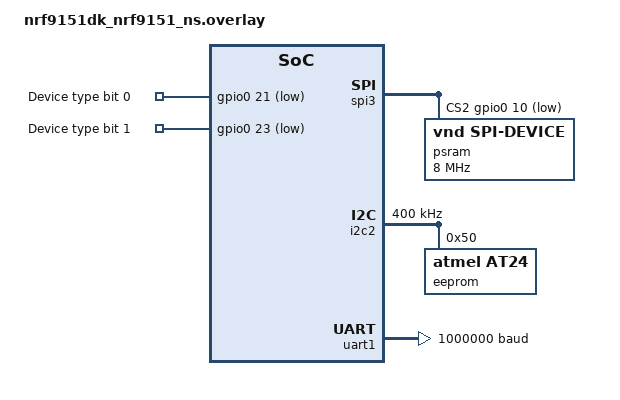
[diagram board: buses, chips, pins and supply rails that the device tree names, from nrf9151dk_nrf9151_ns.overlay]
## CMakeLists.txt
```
#
# Copyright (c) 2024 Nordic Semiconductor
#
# SPDX-License-Identifier: LicenseRef-Nordic-5-Clause
#

cmake_minimum_required(VERSION 3.20.0)

find_package(Zephyr REQUIRED HINTS $ENV{ZEPHYR_BASE})
project(hello_dect)

target_sources(app PRIVATE
  src/main.c
  src/main_sub.c
  src/radio.c
  src/queue.c
  src/product_info.c
  src/mesh.c
  src/mesh_layers/mesh_pairing.c
  src/mesh_layers/mesh_routing.c
  src/mesh_layers/mesh_session.c
  src/timeout.c
  src/tracker.c
  src/psram.c
  src/data.c
  src/config.c
  src/large_data.c
  src/spi_bus.c
  src/storage.c
  src/slm_at_uart.c
  src/slm_at_sub.c
  src/slm_at_main.c
)

# Testing utilities
target_sources(app PRIVATE src/testing/buttons.c)
target_sources(app PRIVATE src/testing/led.c)
```

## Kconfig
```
#
# Copyright (c) 2024 Nordic Semiconductor
#
# SPDX-License-Identifier: LicenseRef-Nordic-5-Clause
#

config CARRIER
	int "Carrier to use"
	default 0
	help
	   The availability of the channels and the exact regulation to use them varies in different countries.
	   See ETSI TS 103 636-2 5.4.2 for the calculation.
	   Band index 1 is set when the carrier is within the range of 525 to 551.
	   This is the only range allowed for band index 1 as other carriers will interfere with other radio devices, including LTE devices.

config NETWORK_ID
	int "Network ID"
	range 1 4294967295
	default 91

config MCS
	int "MCS"
	default 1
	help
	   The MCS impacts how much data can fit into each subslot.

config TX_POWER
	int "TX power"
	range 0 13
	default 13
	help
	   Transmission power, max 19 dBm due to hardware limitations.
	   See table 6.2.1-3 of ETSI TS 103 636-4 v1.5.1.

config TX_TRANSMISSIONS
	int "TX transmissions"
	range 0 4294967295
	default 30
	help
	   Transmissions before sample exits, use 0 to transmit forever.

config RX_PERIOD_S
	int "RX period"
	default 5
	help
	   Receive window period.
	   Time is given in seconds.

config MAIN_LOG_LEVEL
	int "Main log level"
	default 4
	help
	   Choose the log level for the main module.

config MAIN_SUB_LOG_LEVEL
	int "Main Sub log level"
	default 4
	help
	   Choose the log level for the main sub module.

config RADIO_LOG_LEVEL
	int "Radio log level"
	default 4
	help
	   Choose the log level for the radio module.

config MESH_LOG_LEVEL
	int "Mesh log level"
	default 4
	help
	   Choose the log level for the mesh module.

config MESH_PAIRING_LOG_LEVEL
	int "Mesh pairing log level"
	default 4
	help
	   Choose the log level for the mesh pairing module.

config MESH_ROUTING_LOG_LEVEL
	int "Mesh routing log level"
	default 4
	help
	   Choose the log level for the mesh routing module.

config MESH_SESSION_LOG_LEVEL
	int "Mesh session log level"
	default 4
	help
	   Choose the log level for the mesh session module.
	
config DATA_LOG_LEVEL
	int "Data log level"
	default 4
	help
	   Choose the log level for the data module.

config CONFIG_LOG_LEVEL
	int "Config log level"
	default 4
	help
	   Choose the log level for the config module.

config LARGE_DATA_LOG_LEVEL
	int "Large data log level"
	default 4
	help
	   Choose the log level for the large data module.

config PRODUCT_INFO_LOG_LEVEL
	int "Product info log level"
	default 4
	help
	   Choose the log level for the product info module.

config PSRAM_LOG_LEVEL
	int "PSRAM log level"
	default 4
	help
	   Choose the log level for the PSRAM module.

config QUEUE_LOG_LEVEL
	int "Queue log level"
	default 4
	help
	   Choose the log level for the queue module.

config STORAGE_LOG_LEVEL
	int "Storage log level"
	default 4
	help
	   Choose the log level for the storage module.

config TRACKER_LOG_LEVEL
	int "Tracker log level"
	default 4
	help
	   Choose the log level for the tracker module.

module = DECT_PHY_HELLO
module-str = DECT NR+ PHY Hello
source "$(ZEPHYR_BASE)/subsys/logging/Kconfig.template.log_config"

menu "Zephyr Kernel"
source "Kconfig.zephyr"
endmenu
```

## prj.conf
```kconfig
CONFIG_NRF_MODEM_LIB=y

CONFIG_MODEM_ANTENNA=n

CONFIG_CARRIER=525
CONFIG_TX_POWER=13
CONFIG_MCS=2

CONFIG_MAIN_LOG_LEVEL=3
CONFIG_MAIN_SUB_LOG_LEVEL=3
CONFIG_RADIO_LOG_LEVEL=3
CONFIG_MESH_LOG_LEVEL=3
CONFIG_MESH_PAIRING_LOG_LEVEL=3
CONFIG_MESH_ROUTING_LOG_LEVEL=3
CONFIG_MESH_SESSION_LOG_LEVEL=3
CONFIG_DATA_LOG_LEVEL=3
CONFIG_LARGE_DATA_LOG_LEVEL=3
CONFIG_PRODUCT_INFO_LOG_LEVEL=3
CONFIG_PSRAM_LOG_LEVEL=3
CONFIG_QUEUE_LOG_LEVEL=3
CONFIG_STORAGE_LOG_LEVEL=3
CONFIG_CONFIG_LOG_LEVEL=3
CONFIG_TRACKER_LOG_LEVEL=3

CONFIG_NRF_MODEM_LINK_BINARY_DECT_PHY=y
CONFIG_HWINFO=y
CONFIG_GPIO=y
CONFIG_I2C=y
CONFIG_EEPROM=y
CONFIG_EEPROM_AT24=y

CONFIG_ENTROPY_GENERATOR=y
CONFIG_REBOOT=y
CONFIG_SPI=y
CONFIG_CRC=y

CONFIG_LOG=y

CONFIG_MAIN_STACK_SIZE=4096

# AT command UART (UART1, re-pinned in overlay). UART0 stays on console/logs.
# Async UART + DMA is required for the h745-style SLM AT transport.
CONFIG_SERIAL=y
CONFIG_UART_ASYNC_API=y
CONFIG_RING_BUFFER=y
```

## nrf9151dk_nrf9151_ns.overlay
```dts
/*
 * Device-type selection pins (active-low, internal pull-up):
 *   P0.21  P0.23  →  type
 *     0      0       Gateway
 *     0      1       Anchor
 *     1      0       Sensor
 *     1      1       (reserved, defaults to Sensor)
 */
/ {
	chosen {
		nordic,pm-ext-flash = &gd25wb256;
		zephyr,slm-uart     = &uart1;
	};

	device_type_pins {
		compatible = "gpio-keys";
		devtype_pin0: devtype_pin0 {
			gpios = <&gpio0 21 (GPIO_ACTIVE_LOW | GPIO_PULL_UP)>;
			label = "Device type bit 0";
		};
		devtype_pin1: devtype_pin1 {
			gpios = <&gpio0 23 (GPIO_ACTIVE_LOW | GPIO_PULL_UP)>;
			label = "Device type bit 1";
		};
	};
};

/* SPI3: Add PSRAM (APS6404L) sharing the bus with GD25WB256 flash.
 * SCK=P0.13, MOSI=P0.11, MISO=P0.12 (same as flash).
 * PSRAM CS=P0.10 (added as third CS on SPI3). */
&spi3 {
	cs-gpios = <&arduino_header 16 GPIO_ACTIVE_LOW>,  /* D10 */
		   <&gpio0 20 GPIO_ACTIVE_LOW>,            /* flash CS */
		   <&gpio0 10 GPIO_ACTIVE_LOW>;            /* PSRAM CS */

	psram: aps6404l@2 {
		compatible = "vnd,spi-device";
		reg = <2>;
		spi-max-frequency = <8000000>;
		status = "okay";
	};
};

/* I2C2: P0.30 = SDA, P0.31 = SCL (pinctrl already defined in board DTS). */
&i2c2 {
	status = "okay";
	clock-frequency = <I2C_BITRATE_FAST>;

	eeprom: eeprom@50 {
		compatible = "atmel,at24";
		reg = <0x50>;
		size = <DT_SIZE_K(256)>;
		pagesize = <256>;
		address-width = <16>;
		timeout = <10>;
	};
};

/* UART1 = AT command host interface.
 * Default board pinctrl already routes UART1 to P0.29 (TX), P0.28 (RX),
 * P0.17 (CTS), P0.16 (RTS) — exposed on the Arduino-style headers.
 * UART0 stays on its board default (logs / console). */
&uart1 {
	status = "okay";
	current-speed = <1000000>;
	hw-flow-control;
};
```

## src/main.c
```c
/*
 * Copyright (c) 2024 Nordic Semiconductor ASA
 *
 * SPDX-License-Identifier: LicenseRef-Nordic-5-Clause
 */
#include <string.h>
#include <zephyr/kernel.h>
#include <zephyr/logging/log.h>
#include <nrf_modem_dect_phy.h>
#include <modem/nrf_modem_lib.h>
#include <zephyr/drivers/hwinfo.h>
#include "radio.h"
#include "product_info.h"
#include "storage.h"
#include "main_sub.h"
#include "psram.h"
#include "slm_at_main.h"
#include "config.h"
#include "data.h"
#include "large_data.h"
#include "mesh.h"
#include "tracker.h"
#include "testing/buttons.h"
#include "testing/led.h"

LOG_MODULE_REGISTER(main, CONFIG_MAIN_LOG_LEVEL);

BUILD_ASSERT(CONFIG_CARRIER, "Carrier must be configured according to local regulations");

int main(void)
{
	int err;

	LOG_INF("---****--- Dect NR+ PHY mesh started ---****---");

	err = nrf_modem_lib_init();
	if (err) {
		LOG_ERR("modem init failed, err %d", err);
		return err;
	}

	err = nrf_modem_dect_phy_event_handler_set(dect_phy_event_handler);
	if (err) {
		LOG_ERR("nrf_modem_dect_phy_event_handler_set failed, err %d", err);
		return err;
	}

	err = nrf_modem_dect_phy_init();
	if (err) {
		LOG_ERR("nrf_modem_dect_phy_init failed, err %d", err);
		return err;
	}

	k_sem_take(&operation_sem, K_FOREVER);
	if (radio_exit) {
		return -EIO;
	}

	err = nrf_modem_dect_phy_configure(&dect_phy_config_params);
	if (err) {
		LOG_ERR("nrf_modem_dect_phy_configure failed, err %d", err);
		return err;
	}

	k_sem_take(&operation_sem, K_FOREVER);
	if (radio_exit) {
		return -EIO;
	}

	err = nrf_modem_dect_phy_activate(NRF_MODEM_DECT_PHY_RADIO_MODE_LOW_LATENCY);
	if (err) {
		LOG_ERR("nrf_modem_dect_phy_activate failed, err %d", err);
		return err;
	}

	k_sem_take(&operation_sem, K_FOREVER);
	if (radio_exit) {
		return -EIO;
	}

	err = nrf_modem_dect_phy_capability_get();
	if (err) {
		LOG_ERR("nrf_modem_dect_phy_capability_get failed, err %d", err);
	}

	err = product_info_init();
	if (err) {
		LOG_ERR("product_info_init failed, err %d", err);
		return err;
	}

	err = storage_init();
	if (err) {
		LOG_ERR("storage_init failed, err %d", err);
		return err;
	}

	err = psram_init();
	if (err) {
		LOG_WRN("PSRAM init failed, err %d (tracker will not work)", err);
	}

	err = slm_at_init();
	if (err) {
		LOG_WRN("SLM AT init failed, err %d", err);
	}

	/* Testing Purpose Only*/
	buttons_init();
	led_init();

	while (1) {
		// Main Sub State Machine
		main_sub_run();
		// SLM AT Command Processor
		slm_at_run_cycle();
	}

	return 0;
}
```

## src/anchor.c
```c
/*
 * Anchor pairing and main loop for DECT NR+ mesh network.
 *
 * The anchor is a hybrid device:
 *   - Upstream: pairs with gateway/other anchors (like a sensor, 4-step)
 *   - Downstream: accepts sensor pair requests (like a gateway)
 *
 * Tracking IDs are looked up from the tracker pool — no static TID variables.
 * Partition 1 stores upstream infra devices (max 8).
 * Partition 2 stores connected sensors.
 */

#include <zephyr/kernel.h>
#include <zephyr/sys/reboot.h>
#include "main_sub.h"
#include "protocol.h"
#include "product_info.h"
#include "mesh.h"
#include "radio.h"
#include "storage.h"
#include "queue.h"
#include "tracker.h"
#include "data.h"
#include "large_data.h"
#include "config.h"
#include "log_color.h"
#include "slm_at_main.h"

LOG_MODULE_REGISTER(anchor, CONFIG_ANCHOR_LOG_LEVEL);

static int anchor_init(void)
{
	device_info_update();
	LOG_INF_BLU("%s Initialized with ID: %d SN: 0x%016llx, Hop: %d Mesh Devices: %d", device_type_str(DEVICE_TYPE), radio_get_device_id(), SERIAL_NUMBER, DEVICE_HOP_NUMBER, MESH_DEVICES_COUNT);

	tracker_init();
	data_init();
	config_init();
	large_data_init();
	
	if (infra_count > 0) {
		if (infra_count >= MAX_ANCHORS) {
			return 0;
		}
	}

	send_pair_request();
	return 0;
}

static void anchor_process_rx(const uint8_t *data, uint16_t sender_id, int16_t rssi_2)
{
	switch (data[0]) {
	case PACKET_PAIR_REQUEST:
		handle_pair_request((const pair_request_t *)data, sender_id, rssi_2);
		break;
	
	case PACKET_PAIR_RESPONSE:
		handle_pair_response((const pair_response_t *)data, sender_id, rssi_2);
		break;

	case PACKET_PAIR_CONFIRM:
		handle_pair_confirm((const pair_confirm_t *)data, sender_id, rssi_2);
		break;
	
	case PACKET_PAIR_ACK:
		handle_pair_ack((const pair_ack_t *)data, sender_id, rssi_2);
		break;

	case PACKET_JOINED_NETWORK:
		handle_joined_network((const joined_network_t *)data, sender_id, rssi_2);
		break;
	
	case PACKET_JOINED_NETWORK_ACK:
		handle_joined_network_ack((const joined_network_ack_t *)data, sender_id, rssi_2);
		break;
	
	case PACKET_PING_DEVICE:
		handle_ping_device((const ping_device_t *)data, sender_id, rssi_2);
		break;

	case PACKET_PING_ACK:
		handle_ping_ack((const ping_ack_t *)data, sender_id, rssi_2);
		break;
	
	case PACKET_DEVICE_UPDATED:
		handle_device_updated((const device_updated_t *)data, sender_id, rssi_2);
		break;

	case PACKET_DEVICE_UPDATED_ACK:
		handle_device_updated_ack((const device_updated_ack_t *)data, sender_id, rssi_2);
		break;

	case PACKET_REPAIR_REQUEST:
		handle_repair_request((const repair_request_t *)data, sender_id, rssi_2);
		break;

	case PACKET_REPAIR_RESPONSE:
		handle_repair_response((const repair_response_t *)data, sender_id, rssi_2);
		break;

	case PACKET_ROUTE_DISCOVERY:
		handle_route_discovery((const route_discovery_t *)data, sender_id, rssi_2);
		break;

	case PACKET_ROUTE_DISCOVERY_ACK:
		handle_route_discovery_ack((const route_discovery_ack_t *)data, sender_id, rssi_2);
		break;

	case PACKET_ROUTE_INFO:
		handle_route_info((const route_info_t *)data, sender_id, rssi_2);
		break;

	case PACKET_ROUTE_INFO_ACK:
		handle_route_info_ack((const route_info_ack_t *)data, sender_id, rssi_2);
		break;

	case PACKET_DATA_INIT:
		handle_data_init((const data_init_t *)data, sender_id, rssi_2);
		break;

	case PACKET_DATA_INIT_ACK:
		handle_data_init_ack((const data_init_ack_t *)data, sender_id, rssi_2);
		break;

	case PACKET_DATA_CHUNK:
		handle_data_chunk((const data_chunk_t *)data, sender_id, rssi_2);
		break;

	case PACKET_DATA_CHUNK_ACK:
		handle_data_chunk_ack((const data_chunk_ack_t *)data, sender_id, rssi_2);
		break;

	case PACKET_DATA_RECEIVED:
		handle_data_received((const data_receive_t *)data, sender_id, rssi_2);
		break;
		
	case PACKET_CONFIG:
		handle_config((const config_t *)data, sender_id, rssi_2);
		break;

	case PACKET_CONFIG_ACK:
		handle_config_ack((const config_ack_t *)data, sender_id, rssi_2);
		break;

	case PACKET_CONFIG_RECEIVED:
		handle_config_received((const config_received_t *)data, sender_id, rssi_2);
		break;

	case PACKET_LARGE_DATA_INIT:
		handle_large_data_init((const large_data_init_t *)data, sender_id, rssi_2);
		break;

	case PACKET_LARGE_DATA_INIT_ACK:
		handle_large_data_init_ack((const large_data_init_ack_t *)data, sender_id, rssi_2);
		break;

	case PACKET_LARGE_DATA_CHUNK:
		handle_large_data_chunk((const large_data_chunk_t *)data, sender_id, rssi_2);
		break;

	case PACKET_LARGE_DATA_CHUNK_ACK:
		handle_large_data_chunk_ack((const large_data_chunk_ack_t *)data, sender_id, rssi_2);
		break;

	case PACKET_LARGE_DATA_RECEIVED:
		handle_large_data_received((const large_data_receive_t *)data, sender_id, rssi_2);
		break;

	default:
		break;
	}

	return;
}

void anchor_main(void)
{
	int err;
	main_sub_state_t main_sub_state = MAIN_SUB_INIT;
	bool initialized = false;
	LOG_INF("state: %d", main_sub_state);

	static main_sub_state_t main_sub_state_debug = MAIN_SUB_INIT;

	while (1) {

		if (main_sub_state_debug != main_sub_state) {
			main_sub_state_debug = main_sub_state;
			LOG_DBG("Main sub state: %d", main_sub_state);
		}

		switch (main_sub_state) {
			case MAIN_SUB_INIT:
			{
				if (SERIAL_NUMBER == 0xFFFFFFFFFFFFFFFF || SERIAL_NUMBER == 0) {
					// LOG_WRN("Serial Number not set, waiting");
					main_sub_state = MAIN_SUB_SLM_AT;
					break;
				}
				err = anchor_init();
				if (err) {
					LOG_ERR("Anchor init failed, err %d", err);
					main_sub_state = MAIN_SUB_ERROR;
					break;
				}
				initialized = true;
				main_sub_state = MAIN_SUB_RX_WINDOW;
			}
			break;

			case MAIN_SUB_RX_WINDOW:
			{
				err = receive(1, 25);
				if (err) {
					LOG_ERR("Reception failed, err %d", err);
					main_sub_state = MAIN_SUB_ERROR;
					break;
				}
				k_sem_take(&operation_sem, K_FOREVER);
				main_sub_state = MAIN_SUB_RX_PROCESS;
			}
			break;

			case MAIN_SUB_RX_PROCESS:
			{
				struct rx_data_item rx_item;
				int rx_count = 0;

				while (rx_count < MAX_QUEUE_PROCESS_PER_CYCLE &&
					rx_queue_get(&rx_item, K_NO_WAIT) == 0) {
					anchor_process_rx(rx_item.data, rx_item.sender_id, rx_item.rssi_2);
					rx_count++;
				}
				main_sub_state = MAIN_SUB_TX_PROCESS;
			}
			break;

			case MAIN_SUB_TX_PROCESS:
			{
				struct tx_data_item tx_large_item;
				int tx_count = 0;

				while (tx_count < MAX_QUEUE_PROCESS_PER_CYCLE &&
					tx_queue_get(&tx_large_item, K_NO_WAIT) == 0) {
					err = transmit(0, tx_large_item.data, tx_large_item.data_len, 0);
					if (err) {
						LOG_ERR("TX failed, err %d", err);
						main_sub_state = MAIN_SUB_ERROR;
						break;
					}
					k_sem_take(&operation_sem, K_FOREVER);
					tx_count++;
				}
				main_sub_state = MAIN_SUB_SLM_AT;
			}
			break;

			case MAIN_SUB_SLM_AT:
			{
				slm_at_run_cycle();
				if ((SERIAL_NUMBER == 0xFFFFFFFFFFFFFFFF || SERIAL_NUMBER == 0) && !initialized) {
					SERIAL_NUMBER = ((uint64_t)radio_get_device_id() << 40) | 0x00DEADBEEFULL;
					main_sub_state = MAIN_SUB_INIT;
					break;
				}
				main_sub_state = MAIN_SUB_TRACKER;
			}
			break;

			case MAIN_SUB_TRACKER:
			{
				mesh_tick();
				tracker_tick(tracker_default_expired_cb);
				main_sub_state = MAIN_SUB_CONFIG;
			}
			break;

			case MAIN_SUB_CONFIG:
			{
				config_tick();
				main_sub_state = MAIN_SUB_REPORT;
			}
			break;

			case MAIN_SUB_REPORT:
			{
				data_tick();
				main_sub_state = MAIN_SUB_LARGE_DATA;
			}
			break;

			case MAIN_SUB_LARGE_DATA:
			{
				large_data_tick();
				main_sub_state = MAIN_SUB_OTA;
			}
			break;

			case MAIN_SUB_OTA:
			{
				// Implement later
				main_sub_state = MAIN_SUB_PING_DEVICES;
			}
			break;

			case MAIN_SUB_PING_DEVICES:
			{
				main_sub_state = MAIN_SUB_RX_WINDOW;
			}
			break;

			case MAIN_SUB_ERROR:
			{
				LOG_ERR("Anchor in error state, waiting 10s before retry");
				k_msleep(10000);
				main_sub_state = MAIN_SUB_INIT;
			}
			break;

			default:
			{
				LOG_ERR("Anchor in unknown state %d", main_sub_state);
				// Reset the device to recover from unknown state
				sys_reboot(SYS_REBOOT_COLD);
			}
			break;
		}
	}
}
```

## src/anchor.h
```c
#ifndef ANCHOR_H
#define ANCHOR_H

#include <stdint.h>
#include <stdbool.h>
#include "product_info.h"

/* Initialize anchor module. Checks EEPROM for existing pairing. */
int anchor_init(void);

/* Process a received packet. */
void anchor_process_rx(const uint8_t *data, uint16_t sender_id, int16_t rssi_2);

/* Anchor main loop (runs forever). */
void anchor_main(void);

#endif /* ANCHOR_H */
```

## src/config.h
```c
#ifndef CONFIG_H
#define CONFIG_H

#include <stdint.h>
#include <stddef.h>
#include <stdbool.h>
#include "protocol.h"
#include "psram.h"
#include "timeout.h"
#include "slm_at_main.h"

#define CONFIG_SLOT_COUNT			MAX_DEVICES
#define CONFIG_PSRAM_SIZE			(CONFIG_SLOT_COUNT * MAX_CONFIG_SIZE)
#define PROCESS_CONFIG_SLOTS		8 // Max number of config slots to process per tick to avoid long blocking in main loop
#define GATEWAY_CONFIG_TIMEOUT_MS	(2 * 60 * 1000) // 2 minutes timeout for gateway
#define SENSOR_CONFIG_TIMEOUT_MS	(30 * 1000) // 30 seconds timeout for sensor
#define SENSOR_CONFIG_MAX_RETRIES	3 // Max retries for sensor to apply config

struct config_slot {
	bool active;
	bool is_sent;
	bool is_applied;
	bool is_transfered;
	uint16_t dst_device_id;
	uint8_t dst_device_type;
	uint16_t config_id;
	uint8_t config_len;
	uint32_t config_crc32;
	struct nbtimeout timeout;
};

extern struct config_slot config_slot[CONFIG_SLOT_COUNT];

/* Initialize the config module. Must be called after psram_init(). */
int config_init(void);

/* Call from main loop to expire stale slots. */
void config_tick(void);

/* Validate an AT config command and its payload. */
int validate_at_config(const slm_at_structure_t *config, const uint8_t *data);

/* AT command handlers */
void cmd_config(const char *args);
void cmd_config_ack(const char *args);

/* Release a config slot by its ID. */
int config_slot_release_by_id(uint16_t config_id, uint8_t status);

/* TX helpers */
int send_config(config_t *pkt, uint16_t dst_id, uint8_t dst_type, uint8_t priority);
int send_config_ack(config_ack_t *pkt, uint16_t dst_id, uint8_t dst_type, uint8_t priority, uint8_t tracking_id);
int send_config_received(config_received_t *pkt, uint16_t dst_id, uint8_t dst_type);
int send_config_received_ack(config_received_ack_t *pkt, uint16_t dst_id, uint8_t dst_type, uint8_t priority, uint8_t tracking_id);

/* RX handlers — wire into each device's RX dispatch switch. */
void handle_config(const config_t *pkt, uint16_t dst_id, int16_t rssi_2);
void handle_config_ack(const config_ack_t *pkt, uint16_t dst_id, int16_t rssi_2);
void handle_config_received(const config_received_t *pkt, uint16_t dst_id, int16_t rssi_2);
void handle_config_received_ack(const config_received_ack_t *pkt, uint16_t dst_id, int16_t rssi_2);

#endif /* CONFIG_H */
```

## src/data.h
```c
#ifndef DATA_H
#define DATA_H

#include <stdint.h>
#include <stddef.h>
#include <stdbool.h>
#include "protocol.h"
#include "psram.h"
#include "timeout.h"
#include "slm_at_main.h"

#define DATA_PSRAM_BASE			PSRAM_DATA_BASE
#define DATA_SLOT_COUNT			512
#define MAX_REPORT_SIZE			256
#define DATA_PSRAM_SIZE			(DATA_SLOT_COUNT * MAX_REPORT_SIZE)
#define DATA_SLOT_TIMEOUT_MS	(30 * 1000)  /* 30 seconds idle timeout for report slots */
#define PROCESS_REPORT_SLOTS	8  /* limit how many report slots we process per tick to avoid long blocking */
#define DATA_DUP_TIMEOUT_MS		(30 * 1000) /* 30 seconds timeout for duplicate report detection */
#define SENDER_TIMEOUT_MS		(30 * 1000) /* 30 seconds timeout for sender to wait for Completion */

#define DATA_MAX_CHUNKS        	((MAX_REPORT_SIZE + SEND_DATA_MAX - 1) / SEND_DATA_MAX)
#define CRC_VERIFY_STAGE_SIZE 	256

struct report_sender {
	bool     active;
	uint16_t dst_id;
	uint16_t gen_device_id;  /* original origin — preserved across hops */
	uint8_t   data_id;       /* ID of the data being sent (for the sender's reference, e.g. to match with ACKs) */
	uint8_t  priority;
	uint16_t total_size;
	uint8_t  chunk_count;
	uint8_t  last_chunk_size;
	uint8_t  next_chunk;
	uint32_t crc32;
	struct nbtimeout timeout;
};

struct report_slot {
	bool     active;
	bool	 upstream_ready;
	bool     is_sent;
	bool	 is_transfered;
	uint16_t gen_device_id;
	uint8_t data_id;
	uint8_t  priority;
	uint64_t report_time_ms;
	uint16_t total_size;
	uint8_t  chunk_count;
	uint8_t  last_chunk_size;
	uint32_t crc32;
	bool     received[DATA_MAX_CHUNKS];
	uint8_t  received_count;
	struct nbtimeout idle_timeout;
};

extern struct report_sender report_sender[MAX_ANCHORS];
extern struct report_slot report_slot[DATA_SLOT_COUNT];

/* Initialize the report module. Must be called after psram_init(). */
int report_init(void);

/* Call from main loop to expire stale slots. */
void report_tick(void);

/* Validate an AT report before processing. */
int validate_at_report(const slm_at_structure_t *report, uint8_t priority, const uint8_t *data);

/* AT command handlers */
void cmd_report(const char *args);
void cmd_report_ack(const char *args);

/* Release a report slot by its ID. */
int report_slot_release_by_id(uint16_t device_id, uint16_t report_id, bool is_success);

/* TX helpers */
int send_report_init(report_init_t *pkt, uint16_t dst_id, uint8_t dst_type, uint8_t priority);
int send_report_init_ack(report_init_ack_t *pkt, uint16_t dst_id, uint8_t dst_type, uint8_t priority, uint8_t tracking_id);
int send_report_chunk(report_chunk_t *pkt, uint16_t dst_id, uint8_t dst_type, uint8_t priority, uint8_t sender_idx);
int send_report_chunk_ack(report_chunk_ack_t *pkt, uint16_t dst_id, uint8_t dst_type, uint8_t priority, uint8_t tracking_id);
int send_report_received(report_received_t *pkt, uint16_t dst_id, uint8_t dst_type);
int send_report_received_ack(report_received_ack_t *pkt, uint16_t dst_id, uint8_t dst_type, uint8_t priority, uint8_t tracking_id);

/* RX handlers — wire into each device's RX dispatch switch. */
void handle_report_init(const report_init_t *pkt, uint16_t dst_id, int16_t rssi_2);
void handle_report_init_ack(const report_init_ack_t *pkt, uint16_t dst_id, int16_t rssi_2);
void handle_report_chunk(const report_chunk_t *pkt, uint16_t dst_id, int16_t rssi_2);
void handle_report_chunk_ack(const report_chunk_ack_t *pkt, uint16_t dst_id, int16_t rssi_2);
void handle_report_received(const report_received_t *pkt, uint16_t dst_id, int16_t rssi_2);
void handle_report_received_ack(const report_received_ack_t *pkt, uint16_t dst_id, int16_t rssi_2);

#endif /* DATA_H */
```

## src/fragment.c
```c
/*
 * Fragmentation and reassembly for DECT NR+ mesh network.
 *
 * TX: splits large data into fragments, each queued with a 3-byte header.
 * RX: collects fragments by frag_id + sender_id, returns complete data.
 */

#include <string.h>
#include <zephyr/kernel.h>
#include <zephyr/logging/log.h>
#include "fragment.h"
#include "queue.h"

LOG_MODULE_REGISTER(fragment, CONFIG_FRAGMENT_LOG_LEVEL);

static uint8_t next_frag_id;
static struct frag_reassembly reassembly[FRAG_REASSEMBLY_SLOTS];

void fragment_init(void)
{
	next_frag_id = 0;

	for (int i = 0; i < FRAG_REASSEMBLY_SLOTS; i++) {
		reassembly[i].active = false;
	}
}

uint8_t fragment_next_id(void)
{
	return next_frag_id++;
}

int fragment_send(const void *data, size_t data_len, uint8_t subslots)
{
	if (subslots == 0 || subslots > FRAG_MAX_SUBSLOTS) {
		subslots = FRAG_DEFAULT_SUBSLOTS;
	}

	size_t max_payload = (subslots * FRAG_BYTES_PER_SUBSLOT) - FRAG_HEADER_SIZE;
	uint8_t frag_total = (data_len + max_payload - 1) / max_payload;

	if (frag_total == 0) {
		frag_total = 1;
	}

	if (frag_total > 255) {
		LOG_ERR("Data too large to fragment (%d bytes, max %d)",
			data_len, max_payload * 255);
		return -ENOMEM;
	}

	uint8_t frag_id = fragment_next_id();
	const uint8_t *src = (const uint8_t *)data;
	size_t remaining = data_len;

	LOG_DBG("Fragmenting %d bytes into %d fragments (id: %d, payload: %d)",
		data_len, frag_total, frag_id, max_payload);

	for (uint8_t i = 0; i < frag_total; i++) {
		size_t chunk = (remaining > max_payload) ? max_payload : remaining;
		uint8_t buf[FRAG_HEADER_SIZE + max_payload];

		/* Prepend fragment header. */
		buf[0] = frag_id;
		buf[1] = i;
		buf[2] = frag_total;
		memcpy(&buf[FRAG_HEADER_SIZE], src, chunk);

		int err = tx_large_queue_put(buf, FRAG_HEADER_SIZE + chunk, QUEUE_PRIO_LOW);

		if (err) {
			LOG_ERR("Failed to queue fragment %d/%d", i + 1, frag_total);
			return err;
		}

		src += chunk;
		remaining -= chunk;
	}

	return 0;
}

const uint8_t *fragment_receive(const uint8_t *data, size_t data_len,
				uint16_t sender_id, size_t *out_len)
{
	if (data_len < FRAG_HEADER_SIZE) {
		return NULL;
	}

	const struct frag_header *hdr = (const struct frag_header *)data;
	const uint8_t *payload = data + FRAG_HEADER_SIZE;
	size_t payload_len = data_len - FRAG_HEADER_SIZE;

	/* Single fragment — no reassembly needed. */
	if (hdr->frag_total == 1) {
		*out_len = payload_len;
		return payload;
	}

	if (hdr->frag_index >= hdr->frag_total) {
		LOG_WRN("Invalid fragment index %d/%d", hdr->frag_index, hdr->frag_total);
		return NULL;
	}

	/* Find existing reassembly slot. */
	struct frag_reassembly *slot = NULL;

	for (int i = 0; i < FRAG_REASSEMBLY_SLOTS; i++) {
		if (reassembly[i].active &&
		    reassembly[i].frag_id == hdr->frag_id &&
		    reassembly[i].sender_id == sender_id) {
			slot = &reassembly[i];
			break;
		}
	}

	/* Allocate new slot if not found. */
	if (!slot) {
		for (int i = 0; i < FRAG_REASSEMBLY_SLOTS; i++) {
			if (!reassembly[i].active) {
				slot = &reassembly[i];
				slot->active = true;
				slot->frag_id = hdr->frag_id;
				slot->sender_id = sender_id;
				slot->frag_total = hdr->frag_total;
				slot->received_mask = 0;
				slot->total_len = 0;
				break;
			}
		}
	}

	if (!slot) {
		LOG_WRN("No reassembly slots available");
		return NULL;
	}

	/* Calculate max payload per fragment from total. */
	size_t max_payload = (FRAG_DEFAULT_SUBSLOTS * FRAG_BYTES_PER_SUBSLOT) - FRAG_HEADER_SIZE;

	/* Store fragment at correct offset. */
	size_t offset = hdr->frag_index * max_payload;

	if (offset + payload_len > sizeof(slot->buf)) {
		LOG_WRN("Fragment would overflow reassembly buffer");
		slot->active = false;
		return NULL;
	}

	memcpy(&slot->buf[offset], payload, payload_len);
	slot->received_mask |= (1 << hdr->frag_index);

	/* Track total length (last fragment determines actual total). */
	if (offset + payload_len > slot->total_len) {
		slot->total_len = offset + payload_len;
	}

	LOG_DBG("Fragment %d/%d (id:%d) from %d, mask: 0x%02x",
		hdr->frag_index + 1, hdr->frag_total, hdr->frag_id,
		sender_id, slot->received_mask);

	/* Check if all fragments received. */
	uint8_t expected_mask = (1 << hdr->frag_total) - 1;

	if (slot->received_mask == expected_mask) {
		*out_len = slot->total_len;
		slot->active = false;
		return slot->buf;
	}

	return NULL;
}
```

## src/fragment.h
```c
#ifndef FRAGMENT_H
#define FRAGMENT_H

#include <stdint.h>
#include <stddef.h>

/*
 * Fragmentation header (3 bytes, prepended to each fragment payload):
 *   [0] frag_id    — unique ID for this transfer
 *   [1] frag_index — fragment number (0-based)
 *   [2] frag_total — total number of fragments
 *
 * Max payload per fragment = subslot capacity - 3 bytes header
 */

#define FRAG_HEADER_SIZE     3
#define FRAG_MAX_SUBSLOTS    15
#define FRAG_DEFAULT_SUBSLOTS 15

/*
 * Max payload bytes per subslot count at MCS 2 (QPSK 3/4).
 * Approximate: ~14 bytes per subslot.
 */
#define FRAG_BYTES_PER_SUBSLOT 14

/* Max payload per fragment (excluding frag header). */
#define FRAG_MAX_PAYLOAD  ((FRAG_DEFAULT_SUBSLOTS * FRAG_BYTES_PER_SUBSLOT) - FRAG_HEADER_SIZE)

/* Fragment header. */
struct frag_header {
	uint8_t frag_id;
	uint8_t frag_index;
	uint8_t frag_total;
} __attribute__((packed));

/* Reassembly buffer for incoming fragments. */
struct frag_reassembly {
	uint8_t  frag_id;
	uint16_t sender_id;
	uint8_t  frag_total;
	uint8_t  received_mask;  /* bitmask of received fragments (up to 8) */
	uint16_t total_len;
	uint8_t  buf[4096];      /* reassembly buffer */
	bool     active;
};

#define FRAG_REASSEMBLY_SLOTS 4

/* Initialize fragment module. */
void fragment_init(void);

/* Fragment and queue a large buffer for TX.
 * Returns 0 on success, negative on error. */
int fragment_send(const void *data, size_t data_len, uint8_t subslots);

/* Process a received fragment. Returns pointer to complete reassembled
 * data and sets *out_len, or NULL if still incomplete. */
const uint8_t *fragment_receive(const uint8_t *data, size_t data_len,
				uint16_t sender_id, size_t *out_len);

/* Get next fragment ID (auto-incrementing). */
uint8_t fragment_next_id(void);

#endif /* FRAGMENT_H */
```

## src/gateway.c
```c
/*
 * Gateway main loop and pairing handler for DECT NR+ mesh network.
 *
 * Handles the gateway/anchor side of the 4-step pairing:
 *   Sensor → Gateway:  PAIR_REQUEST   → handle_pair_request() sends PAIR_RESPONSE
 *   Sensor → Gateway:  PAIR_CONFIRM   → gateway sends PAIR_ACK, stores sensor
 */

#include <zephyr/kernel.h>
#include <zephyr/sys/reboot.h>
#include "main_sub.h"
#include "protocol.h"
#include "product_info.h"
#include "mesh.h"
#include "radio.h"
#include "storage.h"
#include "queue.h"
#include "tracker.h"
#include "data.h"
#include "large_data.h"
#include "config.h"
#include "log_color.h"
#include "slm_at_main.h"

LOG_MODULE_REGISTER(gateway, CONFIG_GATEWAY_LOG_LEVEL);

/* Broadcast SYNC_TIME every N tracker ticks (~once every 10s at the current cadence). */
#define SYNC_TIME_BROADCAST_PERIOD_TICKS 200

static int gateway_init(void)
{
	device_info_update();
	LOG_INF_BLU("%s Initialized with ID: %d SN: 0x%016llx, Hop: %d Mesh Devices: %d", device_type_str(DEVICE_TYPE), radio_get_device_id(), SERIAL_NUMBER, DEVICE_HOP_NUMBER, MESH_DEVICES_COUNT);

	tracker_init();
	mesh_time_init();
	data_init();
	config_init();
	large_data_init();

	if (storage_mesh_count() > 0) {
		LOG_INF("------------DEVICES IN MESH STORAGE------------");

		for (int i = 0; i < storage_mesh_count(); i++) {
			mesh_entry_t entry;
			int err = storage_mesh_get(i, &entry);
			if (err) {
				LOG_ERR("Failed to read mesh entry %d, err %d", i, err);
				continue;
			}
			if (entry.device_type == DEVICE_TYPE_SENSOR) {
				LOG_INF("%d: %s ID:%d SN:%lld V:%d CID:%d", i,
					device_type_str(entry.device_type), entry.device_id, entry.serial_num, entry.version,
					entry.connected_device_id);
			} else {
				LOG_INF("%d: %s ID:%d SN:%lld V:%d hop:%d SEN_CNT:%d", i,
					device_type_str(entry.device_type), entry.device_id, entry.serial_num, entry.version,
					entry.hop_num, entry.sensor_count);
			}
		}
	}

	ping_known_devices(0, STATUS_SUCCESS);

	return 0;
}

static void gateway_process_rx(const uint8_t *data, uint16_t sender_id, int16_t rssi_2)
{
	switch (data[0]) {
		case PACKET_PAIR_REQUEST:
			handle_pair_request((const pair_request_t *)data, sender_id, rssi_2);
			break;

		case PACKET_PAIR_RESPONSE:
			handle_pair_response((const pair_response_t *)data, sender_id, rssi_2);
			break;

		case PACKET_PAIR_CONFIRM:
			handle_pair_confirm((const pair_confirm_t *)data, sender_id, rssi_2);
			break;

		case PACKET_PAIR_ACK:
			handle_pair_ack((const pair_ack_t *)data, sender_id, rssi_2);
			break;

		case PACKET_JOINED_NETWORK:
			handle_joined_network((const joined_network_t *)data, sender_id, rssi_2);
			break;

		case PACKET_JOINED_NETWORK_ACK:
			handle_joined_network_ack((const joined_network_ack_t *)data, sender_id, rssi_2);
			break;

		case PACKET_PING_DEVICE:
			handle_ping_device((const ping_device_t *)data, sender_id, rssi_2);
			break;

		case PACKET_PING_ACK:
			handle_ping_ack((const ping_ack_t *)data, sender_id, rssi_2);
			break;

		case PACKET_DEVICE_UPDATED:
			handle_device_updated((const device_updated_t *)data, sender_id, rssi_2);
			break;

		case PACKET_DEVICE_UPDATED_ACK:
			handle_device_updated_ack((const device_updated_ack_t *)data, sender_id, rssi_2);
			break;

		case PACKET_REPAIR_REQUEST:
			handle_repair_request((const repair_request_t *)data, sender_id, rssi_2);
			break;

		case PACKET_REPAIR_RESPONSE:
			handle_repair_response((const repair_response_t *)data, sender_id, rssi_2);
			break;

		case PACKET_ROUTE_DISCOVERY:
			handle_route_discovery((const route_discovery_t *)data, sender_id, rssi_2);
			break;

		case PACKET_ROUTE_DISCOVERY_ACK:
			handle_route_discovery_ack((const route_discovery_ack_t *)data, sender_id, rssi_2);
			break;

		case PACKET_ROUTE_INFO:
			handle_route_info((const route_info_t *)data, sender_id, rssi_2);
			break;

		case PACKET_ROUTE_INFO_ACK:
			handle_route_info_ack((const route_info_ack_t *)data, sender_id, rssi_2);
			break;

		case PACKET_DATA_INIT:
			handle_data_init((const data_init_t *)data, sender_id, rssi_2);
			break;

		case PACKET_DATA_INIT_ACK:
			handle_data_init_ack((const data_init_ack_t *)data, sender_id, rssi_2);
			break;

		case PACKET_DATA_CHUNK:
			handle_data_chunk((const data_chunk_t *)data, sender_id, rssi_2);
			break;

		case PACKET_DATA_CHUNK_ACK:
			handle_data_chunk_ack((const data_chunk_ack_t *)data, sender_id, rssi_2);
			break;

		case PACKET_DATA_RECEIVED:
			handle_data_received((const data_receive_t *)data, sender_id, rssi_2);
			break;
		
		case PACKET_CONFIG:
			handle_config((const config_t *)data, sender_id, rssi_2);
			break;

		case PACKET_CONFIG_ACK:
			handle_config_ack((const config_ack_t *)data, sender_id, rssi_2);
			break;

		case PACKET_CONFIG_RECEIVED:
			handle_config_received((const config_received_t *)data, sender_id, rssi_2);
			break;

		case PACKET_LARGE_DATA_INIT:
			handle_large_data_init((const large_data_init_t *)data, sender_id, rssi_2);
			break;

		case PACKET_LARGE_DATA_INIT_ACK:
			handle_large_data_init_ack((const large_data_init_ack_t *)data, sender_id, rssi_2);
			break;

		case PACKET_LARGE_DATA_CHUNK:
			handle_large_data_chunk((const large_data_chunk_t *)data, sender_id, rssi_2);
			break;

		case PACKET_LARGE_DATA_CHUNK_ACK:
			handle_large_data_chunk_ack((const large_data_chunk_ack_t *)data, sender_id, rssi_2);
			break;

		case PACKET_LARGE_DATA_RECEIVED:
			handle_large_data_received((const large_data_receive_t *)data, sender_id, rssi_2);
			break;

		default:
			break;
	}
}

void gateway_main(void)
{
	int err;
	main_sub_state_t main_sub_state = MAIN_SUB_INIT;
	bool initialized = false;

	static main_sub_state_t main_sub_state_debug = MAIN_SUB_INIT;

	while (1) {

		if (main_sub_state_debug != main_sub_state) {
			main_sub_state_debug = main_sub_state;
			LOG_DBG("Main sub state: %d", main_sub_state);
		}
		
		switch (main_sub_state) {
			case MAIN_SUB_INIT:
			{
				if (SERIAL_NUMBER == 0xFFFFFFFFFFFFFFFF || SERIAL_NUMBER == 0) {
					// LOG_WRN("Serial Number not set, waiting");
					main_sub_state = MAIN_SUB_SLM_AT;
					break;
				}
				err = gateway_init();
				if (err) {
					LOG_ERR("Gateway init failed, err %d", err);
					main_sub_state = MAIN_SUB_ERROR;
					break;
				}
				initialized = true;
				main_sub_state = MAIN_SUB_RX_WINDOW;
			}
			break;

			case MAIN_SUB_RX_WINDOW:
			{
				err = receive(1, 25);
				if (err) {
					LOG_ERR("Reception failed, err %d", err);
					main_sub_state = MAIN_SUB_ERROR;
					break;
				}
				k_sem_take(&operation_sem, K_FOREVER);
				main_sub_state = MAIN_SUB_RX_PROCESS;
			}
			break;

			case MAIN_SUB_RX_PROCESS:
			{
				struct rx_data_item rx_item;
				int rx_count = 0;

				while (rx_count < MAX_QUEUE_PROCESS_PER_CYCLE &&
					rx_queue_get(&rx_item, K_NO_WAIT) == 0) {
					gateway_process_rx(rx_item.data, rx_item.sender_id, rx_item.rssi_2);
					rx_count++;
				}
				main_sub_state = MAIN_SUB_TX_PROCESS;
			}
			break;

			case MAIN_SUB_TX_PROCESS:
			{
				struct tx_data_item tx_item;
				int tx_count = 0;

				while (tx_count < MAX_QUEUE_PROCESS_PER_CYCLE &&
					tx_queue_get(&tx_item, K_NO_WAIT) == 0) {
					err = transmit(0, tx_item.data, tx_item.data_len, 0);
					if (err) {
						LOG_ERR("TX failed, err %d", err);
						main_sub_state = MAIN_SUB_ERROR;
						break;
					}
					k_sem_take(&operation_sem, K_FOREVER);
					tx_count++;
				}
				main_sub_state = MAIN_SUB_SLM_AT;
			}
			break;

			case MAIN_SUB_SLM_AT:
			{
				slm_at_run_cycle();
				if ((SERIAL_NUMBER == 0xFFFFFFFFFFFFFFFF || SERIAL_NUMBER == 0) && !initialized) {
					SERIAL_NUMBER = ((uint64_t)radio_get_device_id() << 40) | 0x00DEADBEEFULL;
					main_sub_state = MAIN_SUB_INIT;
					break;
				}
				main_sub_state = MAIN_SUB_TRACKER;
			}
			break;
			
			case MAIN_SUB_TRACKER:
			{
				tracker_tick(tracker_default_expired_cb);
				main_sub_state = MAIN_SUB_CONFIG;
			}
			break;

			case MAIN_SUB_CONFIG:
			{
				config_tick();
				main_sub_state = MAIN_SUB_REPORT;
			}
			break;

			case MAIN_SUB_REPORT:
			{
				data_tick();
				main_sub_state = MAIN_SUB_LARGE_DATA;
			}
			break;

			case MAIN_SUB_LARGE_DATA:
			{
				large_data_tick();
				main_sub_state = MAIN_SUB_OTA;
			}
			break;

			case MAIN_SUB_OTA:
			{
				// Implement later
				main_sub_state = MAIN_SUB_PING_DEVICES;
			}
			break;

			case MAIN_SUB_PING_DEVICES:
			{
				known_devices_tick();
				main_sub_state = MAIN_SUB_RX_WINDOW;
			}
			break;

			case MAIN_SUB_ERROR:
			{
				LOG_ERR("Gateway in error state, waiting 10s before retry");
				k_msleep(10000);
				main_sub_state = MAIN_SUB_INIT;
			}
			break;

			default:
			{
				LOG_ERR("Gateway in unknown state %d", main_sub_state);
				// Reset the device to recover from unknown state
				sys_reboot(SYS_REBOOT_COLD);
			}
			break;
		}
	}
}
```

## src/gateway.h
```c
#ifndef GATEWAY_H
#define GATEWAY_H

#include <stdint.h>

/* Initialize gateway module. */
int gateway_init(void);

/* Process a received packet (called from gateway main loop). */
void gateway_process_rx(const uint8_t *data, uint16_t sender_id, int16_t rssi_2);

/* Gateway main loop (RX → process → TX, runs forever). */
void gateway_main(void);

#endif /* GATEWAY_H */
```

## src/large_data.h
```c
#ifndef LARGE_DATA_H
#define LARGE_DATA_H

#include <stdint.h>
#include <stddef.h>
#include <stdbool.h>
#include "protocol.h"
#include "psram.h"
#include "timeout.h"

#define LARGE_DATA_CHUNK_SIZE                   SEND_LARGE_DATA_MAX
#define LARGE_DATA_CHUNKS_PER_PAGE              32
#define LARGE_DATA_PAGE_SIZE                    (LARGE_DATA_CHUNK_SIZE * LARGE_DATA_CHUNKS_PER_PAGE)
#define LARGE_DATA_MAX_PAGE_COUNT               (PSRAM_LARGE_DATA_SIZE / LARGE_DATA_PAGE_SIZE)

#define LARGE_DATA_PSRAM_BASE                   PSRAM_LARGE_DATA_BASE
#define LARGE_DATA_PSRAM_SIZE                   (LARGE_DATA_MAX_PAGE_COUNT * LARGE_DATA_PAGE_SIZE)

#define LARGE_DATA_SENDER_SLOT_COUNT            1
#define LARGE_DATA_RECEIVER_SLOT_COUNT          64
#define LARGE_DATA_MAX_TRANSFER_SIZE            (200 * 1024)    /* some buffer for metadata */

#define LARGE_DATA_SLOT_TIMEOUT_MS              (30 * 1000)     /* free slot if idle this long */
#define PACKET_LARGE_DATA_TIMEOUT_MS            150             /* 150ms timeout for waiting ACKs before retrying */
#define LD_SENDER_TIMEOUT_MS                    (30 * 1000)     /* 30 seconds timeout for sender to wait for transfer completion before giving up */

#define LD_CRC_VERIFY_STAGE_SIZE                1024  /* Read and process data in 1KB stages for CRC verification */

struct large_data_sender {
    bool        active;
    uint16_t    dst_id;
    uint16_t    gen_device_id;  /* original origin — preserved across hops */
    uint8_t     data_id;        /* ID of the data being sent (for the sender's reference, e.g. to match with ACKs) */
    uint8_t     priority;
    uint32_t    total_size;
    uint16_t    page_count;
    uint16_t    last_chunk_size;
    uint16_t    total_chunks;
    uint16_t    next_chunk;
    uint32_t    crc32;
    uint32_t    base_addr;      /* base address in PSRAM where the data to be sent is stored */
    struct nbtimeout timeout;
};

struct large_data_slot {
    bool        active;
    bool        upstream_ready;
    bool        is_sent;
    bool        is_transfered;
    uint16_t    gen_device_id;
    uint8_t     data_id;
    uint8_t     priority;
    uint32_t    total_size;
    uint8_t     page_count;
    uint16_t    last_chunk_size;
    uint16_t    total_chunks;
    uint32_t    crc32;
    uint16_t    received_count;
    uint8_t     bitmap[((LARGE_DATA_MAX_TRANSFER_SIZE / LARGE_DATA_CHUNK_SIZE) + 7) / 8];
    uint32_t    base_addr;
    uint64_t    report_time_ms;
    struct nbtimeout idle_timeout;    
};

extern struct large_data_sender ld_sender[LARGE_DATA_SENDER_SLOT_COUNT];
extern bool is_ld_slot_empty[LARGE_DATA_MAX_PAGE_COUNT];    /* Track empty slots */
extern struct large_data_slot ld_slot[LARGE_DATA_RECEIVER_SLOT_COUNT];

/* Initialize large data module. Must be called after PSRAM initialization */
int large_data_init(void);

/* Call from main loop to expire stale slots */
void large_data_tick(void);

/* AT command handlers */
void cmd_ld_init(const char *args);
void cmd_ld_init_ack(const char *args, bool is_ready);
void cmd_ld_chunk(const char *args);
void cmd_ld_chunk_ack(const char *args, bool is_ready);

/* TX helpers */
int send_large_data_init(large_data_init_t *pkt, uint16_t dst_id, uint8_t dst_type, uint8_t priority);
int send_large_data_init_ack(large_data_init_ack_t *pkt, uint16_t dst_id, uint8_t dst_type, uint8_t priority, uint8_t tracking_id);
int send_large_data_chunk(large_data_chunk_t *pkt, uint16_t dst_id, uint8_t dst_type, uint8_t priority);
int send_large_data_chunk_ack(large_data_chunk_ack_t *pkt, uint16_t dst_id, uint8_t dst_type, uint8_t priority, uint8_t tracking_id);
int send_large_data_received(large_data_received_t *pkt, uint16_t dst_id, uint8_t dst_type);
int send_large_data_received_ack(large_data_received_ack_t *pkt, uint16_t dst_id, uint8_t dst_type, uint8_t priority, uint8_t tracking_id);

/* RX handlers — wire into each device's RX dispatch switch. */
void handle_large_data_init(const large_data_init_t *pkt, uint16_t dst_id, int16_t rssi_2);
void handle_large_data_init_ack(const large_data_init_ack_t *pkt, uint16_t dst_id, int16_t rssi_2);
void handle_large_data_chunk(const large_data_chunk_t *pkt, uint16_t dst_id, int16_t rssi_2);
void handle_large_data_chunk_ack(const large_data_chunk_ack_t *pkt, uint16_t dst_id, int16_t rssi_2);
void handle_large_data_received(const large_data_received_t *pkt, uint16_t dst_id, int16_t rssi_2);

#endif /* LARGE_DATA_H */
```
